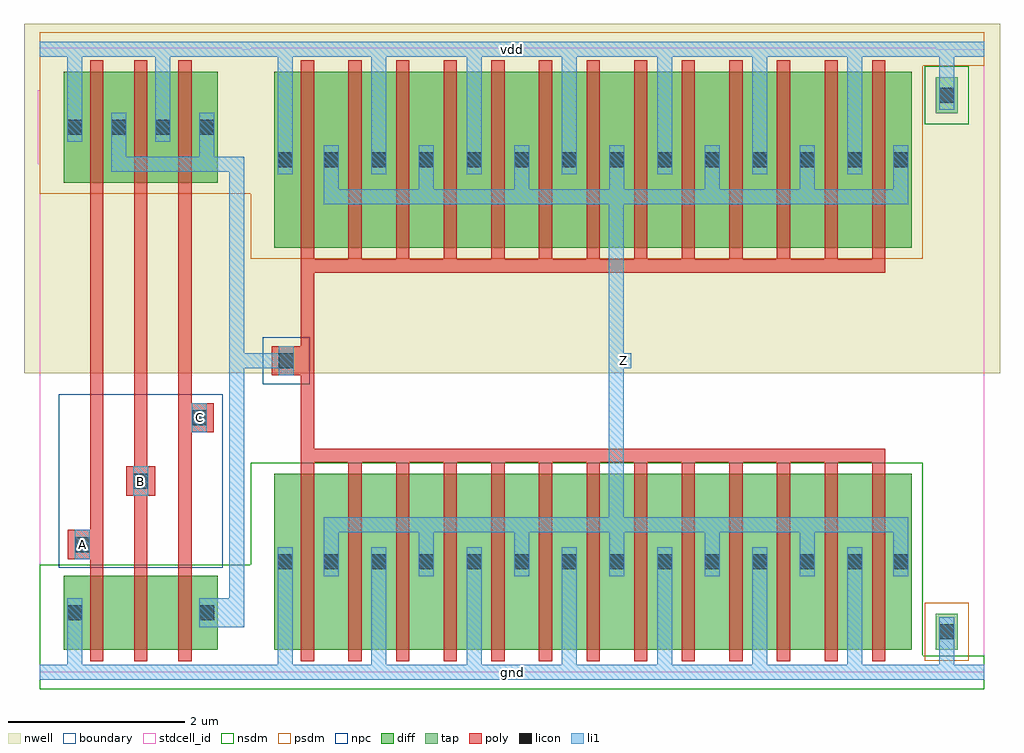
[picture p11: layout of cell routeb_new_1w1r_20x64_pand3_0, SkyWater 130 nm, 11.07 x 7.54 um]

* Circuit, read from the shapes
.subckt routeb_new_1w1r_20x64_pand3_0 A B C Z gnd vdd
XM1 routeb_new_1w1r_20x64_pnand3_0/routeb_new_1w1r_20x64_nmos_m1_w0_840_sli_dactive_3/D A gnd gnd sky130_fd_pr__nfet_01v8 w=0.84 l=0.15
XM2 routeb_new_1w1r_20x64_pnand3_0/routeb_new_1w1r_20x64_nmos_m1_w0_840_sactive_dactive_4/D B routeb_new_1w1r_20x64_pnand3_0/routeb_new_1w1r_20x64_nmos_m1_w0_840_sli_dactive_3/D gnd sky130_fd_pr__nfet_01v8 w=0.84 l=0.15
XM3 routeb_new_1w1r_20x64_pdriver_3_1/A C routeb_new_1w1r_20x64_pnand3_0/routeb_new_1w1r_20x64_nmos_m1_w0_840_sactive_dactive_4/D gnd sky130_fd_pr__nfet_01v8 w=0.84 l=0.15
XM4 Z routeb_new_1w1r_20x64_pdriver_3_1/A gnd gnd sky130_fd_pr__nfet_01v8 w=2 l=0.15 m=13
XM5 routeb_new_1w1r_20x64_pdriver_3_1/A A vdd vdd sky130_fd_pr__pfet_01v8 w=1.26 l=0.15
XM6 vdd B routeb_new_1w1r_20x64_pdriver_3_1/A vdd sky130_fd_pr__pfet_01v8 w=1.26 l=0.15
XM7 routeb_new_1w1r_20x64_pdriver_3_1/A C vdd vdd sky130_fd_pr__pfet_01v8 w=1.26 l=0.15
XM8 Z routeb_new_1w1r_20x64_pdriver_3_1/A vdd vdd sky130_fd_pr__pfet_01v8 w=2 l=0.15 m=13
.ends

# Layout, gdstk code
import gdstk
lib = gdstk.Library(unit=1e-6, precision=1e-09)
def R(c, l, rs):  # rectangles x0, y0, x1, y1
    for r in rs: c.add(gdstk.rectangle(r[:2], r[2:], *l))
def A(c, l, x, y, w, h, nx, ny, dx, dy):  # array of equal rectangles
    R(c, l, [(x+i*dx, y+j*dy, x+i*dx+w, y+j*dy+h) for i in range(nx) for j in range(ny)])
nwell = (64, 20)
diff = (65, 20)
tap = (65, 44)
poly = (66, 20)
licon = (66, 44)
li1 = (67, 20)
stdcell_id = (81, 4)
nsdm = (93, 44)
psdm = (94, 20)
npc = (95, 20)
boundary = (235, 4)

routeb_new_1w1r_20x64_co = lib.new_cell('routeb_new_1w1r_20x64_contact_11')
R(routeb_new_1w1r_20x64_co, nwell, [(-0.295,-0.255,0.545,0.585)])
R(routeb_new_1w1r_20x64_co, diff, [(0,0.02,0.25,0.31)])
R(routeb_new_1w1r_20x64_co, licon, [(0.04,0.08,0.21,0.25)])
R(routeb_new_1w1r_20x64_co, li1, [(0.04,0,0.21,0.33)])
R(routeb_new_1w1r_20x64_co, stdcell_id, [(-0.295,-0.255,0.545,0.585)])
R(routeb_new_1w1r_20x64_co, psdm, [(-0.125,-0.105,0.375,0.435)])
R(routeb_new_1w1r_20x64_co, boundary, [(-0.295,-0.255,0.545,0.585)])

routeb_new_1w1r_20x64_pm = lib.new_cell('routeb_new_1w1r_20x64_pmos_m1_w1_260_sli_dli')
R(routeb_new_1w1r_20x64_pm, nwell, [(-0.27,-0.27,1.02,1.53)])
R(routeb_new_1w1r_20x64_pm, diff, [(0,0,0.75,1.26)])
R(routeb_new_1w1r_20x64_pm, poly, [(0.3,-0.13,0.45,1.39), (0.3,-0.13,0.45,1.39)])
R(routeb_new_1w1r_20x64_pm, li1, [(0.04,0.465,0.21,0.795), (0.54,0.465,0.71,0.795)])
R(routeb_new_1w1r_20x64_pm, stdcell_id, [(-0.27,-0.27,1.02,1.53)])
R(routeb_new_1w1r_20x64_pm, psdm, [(-0.125,-0.125,0.875,1.385)])
R(routeb_new_1w1r_20x64_pm, boundary, [(-0.27,-0.27,1.02,1.53)])
routeb_new_1w1r_20x64_pm.add(gdstk.Reference(routeb_new_1w1r_20x64_co, (0,0.465)))
routeb_new_1w1r_20x64_pm.add(gdstk.Reference(routeb_new_1w1r_20x64_co, (0.5,0.465)))
routeb_new_1w1r_20x64_pm.add(gdstk.Label('G', (0.375,0.63), layer=66, texttype=5))
routeb_new_1w1r_20x64_pm.add(gdstk.Label('S', (0.125,0.63), layer=67, texttype=5))
routeb_new_1w1r_20x64_pm.add(gdstk.Label('D', (0.625,0.63), layer=67, texttype=5))

c_routeb_new_1w1r_20x64_co = lib.new_cell('routeb_new_1w1r_20x64_contact_10')
R(c_routeb_new_1w1r_20x64_co, diff, [(0,0.02,0.25,0.31)])
R(c_routeb_new_1w1r_20x64_co, licon, [(0.04,0.08,0.21,0.25)])
R(c_routeb_new_1w1r_20x64_co, li1, [(0.04,0,0.21,0.33)])
R(c_routeb_new_1w1r_20x64_co, stdcell_id, [(-0.125,-0.105,0.375,0.435)])
R(c_routeb_new_1w1r_20x64_co, nsdm, [(-0.125,-0.105,0.375,0.435)])
R(c_routeb_new_1w1r_20x64_co, boundary, [(-0.125,-0.105,0.375,0.435)])

routeb_new_1w1r_20x64_nm = lib.new_cell('routeb_new_1w1r_20x64_nmos_m1_w0_840_sli_dactive')
R(routeb_new_1w1r_20x64_nm, diff, [(0,0,0.75,0.84), (0.55,0.345,0.7,0.495)])
R(routeb_new_1w1r_20x64_nm, poly, [(0.3,-0.13,0.45,0.97), (0.3,-0.13,0.45,0.97)])
R(routeb_new_1w1r_20x64_nm, li1, [(0.04,0.255,0.21,0.585)])
R(routeb_new_1w1r_20x64_nm, stdcell_id, [(-0.125,-0.13,0.875,0.97)])
R(routeb_new_1w1r_20x64_nm, nsdm, [(-0.125,-0.125,0.875,0.965)])
R(routeb_new_1w1r_20x64_nm, boundary, [(-0.125,-0.13,0.875,0.97)])
routeb_new_1w1r_20x64_nm.add(gdstk.Reference(c_routeb_new_1w1r_20x64_co, (0,0.255)))
routeb_new_1w1r_20x64_nm.add(gdstk.Label('G', (0.375,0.42), layer=66, texttype=5))
routeb_new_1w1r_20x64_nm.add(gdstk.Label('S', (0.125,0.42), layer=67, texttype=5))
routeb_new_1w1r_20x64_nm.add(gdstk.Label('D', (0.625,0.42), layer=65, texttype=5))

c_routeb_new_1w1r_20x64_nm = lib.new_cell('routeb_new_1w1r_20x64_nmos_m1_w0_840_sactive_dactive')
R(c_routeb_new_1w1r_20x64_nm, diff, [(0,0,0.75,0.84), (0.05,0.345,0.2,0.495), (0.55,0.345,0.7,0.495)])
R(c_routeb_new_1w1r_20x64_nm, poly, [(0.3,-0.13,0.45,0.97), (0.3,-0.13,0.45,0.97)])
R(c_routeb_new_1w1r_20x64_nm, stdcell_id, [(-0.125,-0.13,0.875,0.97)])
R(c_routeb_new_1w1r_20x64_nm, nsdm, [(-0.125,-0.125,0.875,0.965)])
R(c_routeb_new_1w1r_20x64_nm, boundary, [(-0.125,-0.13,0.875,0.97)])
c_routeb_new_1w1r_20x64_nm.add(gdstk.Label('G', (0.375,0.42), layer=66, texttype=5))
c_routeb_new_1w1r_20x64_nm.add(gdstk.Label('S', (0.125,0.42), layer=65, texttype=5))
c_routeb_new_1w1r_20x64_nm.add(gdstk.Label('D', (0.625,0.42), layer=65, texttype=5))

c_routeb_new_1w1r_20x64_nm_ = lib.new_cell('routeb_new_1w1r_20x64_nmos_m1_w0_840_sactive_dli')
R(c_routeb_new_1w1r_20x64_nm_, diff, [(0,0,0.75,0.84), (0.05,0.345,0.2,0.495)])
R(c_routeb_new_1w1r_20x64_nm_, poly, [(0.3,-0.13,0.45,0.97), (0.3,-0.13,0.45,0.97)])
R(c_routeb_new_1w1r_20x64_nm_, li1, [(0.54,0.255,0.71,0.585)])
R(c_routeb_new_1w1r_20x64_nm_, stdcell_id, [(-0.125,-0.13,0.875,0.97)])
R(c_routeb_new_1w1r_20x64_nm_, nsdm, [(-0.125,-0.125,0.875,0.965)])
R(c_routeb_new_1w1r_20x64_nm_, boundary, [(-0.125,-0.13,0.875,0.97)])
c_routeb_new_1w1r_20x64_nm_.add(gdstk.Reference(c_routeb_new_1w1r_20x64_co, (0.5,0.255)))
c_routeb_new_1w1r_20x64_nm_.add(gdstk.Label('G', (0.375,0.42), layer=66, texttype=5))
c_routeb_new_1w1r_20x64_nm_.add(gdstk.Label('S', (0.125,0.42), layer=65, texttype=5))
c_routeb_new_1w1r_20x64_nm_.add(gdstk.Label('D', (0.625,0.42), layer=67, texttype=5))

c_routeb_new_1w1r_20x64_co_ = lib.new_cell('routeb_new_1w1r_20x64_contact_15')
R(c_routeb_new_1w1r_20x64_co_, poly, [(0,0,0.33,0.33)])
R(c_routeb_new_1w1r_20x64_co_, licon, [(0.08,0.08,0.25,0.25)])
R(c_routeb_new_1w1r_20x64_co_, li1, [(0.08,0,0.25,0.33)])
R(c_routeb_new_1w1r_20x64_co_, stdcell_id, [(-0.1,-0.1,0.43,0.43)])
R(c_routeb_new_1w1r_20x64_co_, npc, [(-0.1,-0.1,0.43,0.43)])
R(c_routeb_new_1w1r_20x64_co_, boundary, [(-0.1,-0.1,0.43,0.43)])

routeb_new_1w1r_20x64_pn = lib.new_cell('routeb_new_1w1r_20x64_pnand3')
R(routeb_new_1w1r_20x64_pn, nwell, [(-0.18,3.395,2.57,7.355)])
A(routeb_new_1w1r_20x64_pn, poly, 0.57, 1.225, 0.15, 4.2, 3, 1, 0.5, 0)
R(routeb_new_1w1r_20x64_pn, poly, [(0.48,1.285,0.57,1.615), (1.07,2.005,1.145,2.335), (1.57,2.725,1.81,3.055)])
R(routeb_new_1w1r_20x64_pn, li1, [(0,-0.085,2.39,0.085), (0.31,-0.085,0.48,0.51), (1.895,0.51,2.235,0.84), (2.15,0.51,2.32,5.765), (0.395,1.285,0.565,1.615), (1.06,2.005,1.23,2.335), (1.725,2.725,1.895,3.055), (0.81,5.68,0.98,5.85), (0.895,5.68,2.235,5.85), (1.81,5.68,1.98,5.85), (1.895,5.68,2.235,5.85), (2.15,5.68,2.32,5.85), (0.81,5.765,0.98,6.185), (1.81,5.765,1.98,6.185), (0.31,6.02,0.48,7.155), (1.31,6.02,1.48,7.155), (0,6.985,2.39,7.155)])
R(routeb_new_1w1r_20x64_pn, stdcell_id, [(0,0,2.39,7.07), (0,0,2.39,7.07)])
R(routeb_new_1w1r_20x64_pn, nsdm, [(0,-0.19,2.39,0.19), (0,0,2.39,1.22)])
R(routeb_new_1w1r_20x64_pn, psdm, [(0,5.43,2.39,7.07), (0,6.88,2.39,7.26)])
R(routeb_new_1w1r_20x64_pn, npc, [(0.215,1.185,2.075,3.155)])
R(routeb_new_1w1r_20x64_pn, boundary, [(0,0,2.39,7.07), (0,0,2.39,7.07)])
routeb_new_1w1r_20x64_pn.add(gdstk.Reference(routeb_new_1w1r_20x64_pm, (0.27,5.555)))
routeb_new_1w1r_20x64_pn.add(gdstk.Reference(routeb_new_1w1r_20x64_pm, (0.77,5.555)))
routeb_new_1w1r_20x64_pn.add(gdstk.Reference(routeb_new_1w1r_20x64_pm, (1.27,5.555)))
routeb_new_1w1r_20x64_pn.add(gdstk.Reference(routeb_new_1w1r_20x64_nm, (0.27,0.255)))
routeb_new_1w1r_20x64_pn.add(gdstk.Reference(c_routeb_new_1w1r_20x64_nm, (0.77,0.255)))
routeb_new_1w1r_20x64_pn.add(gdstk.Reference(c_routeb_new_1w1r_20x64_nm_, (1.27,0.255)))
routeb_new_1w1r_20x64_pn.add(gdstk.Reference(c_routeb_new_1w1r_20x64_co_, (0.315,1.285)))
routeb_new_1w1r_20x64_pn.add(gdstk.Reference(c_routeb_new_1w1r_20x64_co_, (0.98,2.005)))
routeb_new_1w1r_20x64_pn.add(gdstk.Reference(c_routeb_new_1w1r_20x64_co_, (1.645,2.725)))
routeb_new_1w1r_20x64_pn.add(gdstk.Label('A', (0.48,1.45), layer=67, texttype=5))
routeb_new_1w1r_20x64_pn.add(gdstk.Label('B', (1.145,2.17), layer=67, texttype=5))
routeb_new_1w1r_20x64_pn.add(gdstk.Label('C', (1.81,2.89), layer=67, texttype=5))
routeb_new_1w1r_20x64_pn.add(gdstk.Label('Z', (2.235,5.765), layer=67, texttype=5))
routeb_new_1w1r_20x64_pn.add(gdstk.Label('gnd', (1.195,0), layer=67, texttype=5))
routeb_new_1w1r_20x64_pn.add(gdstk.Label('vdd', (1.195,7.07), layer=67, texttype=5))

c_routeb_new_1w1r_20x64_pm = lib.new_cell('routeb_new_1w1r_20x64_pmos_m13_w2_000_sli_dli_da_p')
R(c_routeb_new_1w1r_20x64_pm, nwell, [(-0.27,-0.27,7.5,2.27)])
R(c_routeb_new_1w1r_20x64_pm, diff, [(0,0,7.23,2)])
A(c_routeb_new_1w1r_20x64_pm, poly, 0.3, -0.13, 0.15, 2.26, 13, 1, 0.54, 0)
R(c_routeb_new_1w1r_20x64_pm, poly, [(0.3,-0.28,6.93,-0.13)])
A(c_routeb_new_1w1r_20x64_pm, li1, 0.56, 0.58, 0.17, 0.42, 6, 1, 1.08, 0)
A(c_routeb_new_1w1r_20x64_pm, li1, 1.1, 0.835, 0.17, 0.33, 6, 1, 1.08, 0)
R(c_routeb_new_1w1r_20x64_pm, li1, [(0.56,0.495,7.19,0.665), (7.02,0.58,7.19,1), (0.04,0.835,0.21,1.165)])
R(c_routeb_new_1w1r_20x64_pm, stdcell_id, [(-0.27,-0.28,7.5,2.27)])
R(c_routeb_new_1w1r_20x64_pm, psdm, [(-0.125,-0.125,7.355,2.125)])
R(c_routeb_new_1w1r_20x64_pm, boundary, [(-0.27,-0.28,7.5,2.27)])
c_routeb_new_1w1r_20x64_pm.add(gdstk.Reference(routeb_new_1w1r_20x64_co, (0,0.835)))
c_routeb_new_1w1r_20x64_pm.add(gdstk.Reference(routeb_new_1w1r_20x64_co, (0.52,0.835)))
c_routeb_new_1w1r_20x64_pm.add(gdstk.Reference(routeb_new_1w1r_20x64_co, (1.06,0.835)))
c_routeb_new_1w1r_20x64_pm.add(gdstk.Reference(routeb_new_1w1r_20x64_co, (1.6,0.835)))
c_routeb_new_1w1r_20x64_pm.add(gdstk.Reference(routeb_new_1w1r_20x64_co, (2.14,0.835)))
c_routeb_new_1w1r_20x64_pm.add(gdstk.Reference(routeb_new_1w1r_20x64_co, (2.68,0.835)))
c_routeb_new_1w1r_20x64_pm.add(gdstk.Reference(routeb_new_1w1r_20x64_co, (3.22,0.835)))
c_routeb_new_1w1r_20x64_pm.add(gdstk.Reference(routeb_new_1w1r_20x64_co, (3.76,0.835)))
c_routeb_new_1w1r_20x64_pm.add(gdstk.Reference(routeb_new_1w1r_20x64_co, (4.3,0.835)))
c_routeb_new_1w1r_20x64_pm.add(gdstk.Reference(routeb_new_1w1r_20x64_co, (4.84,0.835)))
c_routeb_new_1w1r_20x64_pm.add(gdstk.Reference(routeb_new_1w1r_20x64_co, (5.38,0.835)))
c_routeb_new_1w1r_20x64_pm.add(gdstk.Reference(routeb_new_1w1r_20x64_co, (5.92,0.835)))
c_routeb_new_1w1r_20x64_pm.add(gdstk.Reference(routeb_new_1w1r_20x64_co, (6.46,0.835)))
c_routeb_new_1w1r_20x64_pm.add(gdstk.Reference(routeb_new_1w1r_20x64_co, (6.98,0.835)))
c_routeb_new_1w1r_20x64_pm.add(gdstk.Label('G', (3.615,-0.205), layer=66, texttype=5))
c_routeb_new_1w1r_20x64_pm.add(gdstk.Label('S', (6.585,1), layer=67, texttype=5))
c_routeb_new_1w1r_20x64_pm.add(gdstk.Label('S', (2.265,1), layer=67, texttype=5))
c_routeb_new_1w1r_20x64_pm.add(gdstk.Label('S', (3.345,1), layer=67, texttype=5))
c_routeb_new_1w1r_20x64_pm.add(gdstk.Label('S', (1.185,1), layer=67, texttype=5))
c_routeb_new_1w1r_20x64_pm.add(gdstk.Label('S', (0.125,1), layer=67, texttype=5))
c_routeb_new_1w1r_20x64_pm.add(gdstk.Label('S', (5.505,1), layer=67, texttype=5))
c_routeb_new_1w1r_20x64_pm.add(gdstk.Label('S', (4.425,1), layer=67, texttype=5))
c_routeb_new_1w1r_20x64_pm.add(gdstk.Label('D', (3.875,0.58), layer=67, texttype=5))

c_routeb_new_1w1r_20x64_nm__ = lib.new_cell('routeb_new_1w1r_20x64_nmos_m13_w2_000_sli_dli_da_p')
R(c_routeb_new_1w1r_20x64_nm__, diff, [(0,0,7.23,2)])
A(c_routeb_new_1w1r_20x64_nm__, poly, 0.3, -0.13, 0.15, 2.26, 13, 1, 0.54, 0)
R(c_routeb_new_1w1r_20x64_nm__, poly, [(0.3,2.13,6.93,2.28)])
A(c_routeb_new_1w1r_20x64_nm__, li1, 1.1, 0.835, 0.17, 0.33, 6, 1, 1.08, 0)
A(c_routeb_new_1w1r_20x64_nm__, li1, 0.56, 1, 0.17, 0.42, 6, 1, 1.08, 0)
R(c_routeb_new_1w1r_20x64_nm__, li1, [(0.04,0.835,0.21,1.165), (7.02,1,7.19,1.42), (0.56,1.335,7.19,1.505)])
R(c_routeb_new_1w1r_20x64_nm__, stdcell_id, [(-0.125,-0.13,7.355,2.28)])
R(c_routeb_new_1w1r_20x64_nm__, nsdm, [(-0.125,-0.125,7.355,2.125)])
R(c_routeb_new_1w1r_20x64_nm__, boundary, [(-0.125,-0.13,7.355,2.28)])
c_routeb_new_1w1r_20x64_nm__.add(gdstk.Reference(c_routeb_new_1w1r_20x64_co, (0,0.835)))
c_routeb_new_1w1r_20x64_nm__.add(gdstk.Reference(c_routeb_new_1w1r_20x64_co, (0.52,0.835)))
c_routeb_new_1w1r_20x64_nm__.add(gdstk.Reference(c_routeb_new_1w1r_20x64_co, (1.06,0.835)))
c_routeb_new_1w1r_20x64_nm__.add(gdstk.Reference(c_routeb_new_1w1r_20x64_co, (1.6,0.835)))
c_routeb_new_1w1r_20x64_nm__.add(gdstk.Reference(c_routeb_new_1w1r_20x64_co, (2.14,0.835)))
c_routeb_new_1w1r_20x64_nm__.add(gdstk.Reference(c_routeb_new_1w1r_20x64_co, (2.68,0.835)))
c_routeb_new_1w1r_20x64_nm__.add(gdstk.Reference(c_routeb_new_1w1r_20x64_co, (3.22,0.835)))
c_routeb_new_1w1r_20x64_nm__.add(gdstk.Reference(c_routeb_new_1w1r_20x64_co, (3.76,0.835)))
c_routeb_new_1w1r_20x64_nm__.add(gdstk.Reference(c_routeb_new_1w1r_20x64_co, (4.3,0.835)))
c_routeb_new_1w1r_20x64_nm__.add(gdstk.Reference(c_routeb_new_1w1r_20x64_co, (4.84,0.835)))
c_routeb_new_1w1r_20x64_nm__.add(gdstk.Reference(c_routeb_new_1w1r_20x64_co, (5.38,0.835)))
c_routeb_new_1w1r_20x64_nm__.add(gdstk.Reference(c_routeb_new_1w1r_20x64_co, (5.92,0.835)))
c_routeb_new_1w1r_20x64_nm__.add(gdstk.Reference(c_routeb_new_1w1r_20x64_co, (6.46,0.835)))
c_routeb_new_1w1r_20x64_nm__.add(gdstk.Reference(c_routeb_new_1w1r_20x64_co, (6.98,0.835)))
c_routeb_new_1w1r_20x64_nm__.add(gdstk.Label('G', (3.615,2.205), layer=66, texttype=5))
c_routeb_new_1w1r_20x64_nm__.add(gdstk.Label('S', (6.585,1), layer=67, texttype=5))
c_routeb_new_1w1r_20x64_nm__.add(gdstk.Label('S', (2.265,1), layer=67, texttype=5))
c_routeb_new_1w1r_20x64_nm__.add(gdstk.Label('S', (3.345,1), layer=67, texttype=5))
c_routeb_new_1w1r_20x64_nm__.add(gdstk.Label('S', (1.185,1), layer=67, texttype=5))
c_routeb_new_1w1r_20x64_nm__.add(gdstk.Label('S', (0.125,1), layer=67, texttype=5))
c_routeb_new_1w1r_20x64_nm__.add(gdstk.Label('S', (5.505,1), layer=67, texttype=5))
c_routeb_new_1w1r_20x64_nm__.add(gdstk.Label('S', (4.425,1), layer=67, texttype=5))
c_routeb_new_1w1r_20x64_nm__.add(gdstk.Label('D', (3.875,1.42), layer=67, texttype=5))

c_routeb_new_1w1r_20x64_co__ = lib.new_cell('routeb_new_1w1r_20x64_contact_24')
R(c_routeb_new_1w1r_20x64_co__, nwell, [(-0.295,-0.215,0.545,0.625)])
R(c_routeb_new_1w1r_20x64_co__, tap, [(0,0,0.25,0.41)])
R(c_routeb_new_1w1r_20x64_co__, licon, [(0.04,0.12,0.21,0.29)])
R(c_routeb_new_1w1r_20x64_co__, li1, [(0.04,0.04,0.21,0.37)])
R(c_routeb_new_1w1r_20x64_co__, stdcell_id, [(-0.295,-0.215,0.545,0.625)])
R(c_routeb_new_1w1r_20x64_co__, nsdm, [(-0.125,-0.125,0.375,0.535)])
R(c_routeb_new_1w1r_20x64_co__, boundary, [(-0.295,-0.215,0.545,0.625)])

c_routeb_new_1w1r_20x64_co___ = lib.new_cell('routeb_new_1w1r_20x64_contact_25')
R(c_routeb_new_1w1r_20x64_co___, tap, [(0,0,0.25,0.41)])
R(c_routeb_new_1w1r_20x64_co___, licon, [(0.04,0.12,0.21,0.29)])
R(c_routeb_new_1w1r_20x64_co___, li1, [(0.04,0.04,0.21,0.37)])
R(c_routeb_new_1w1r_20x64_co___, stdcell_id, [(-0.125,-0.125,0.375,0.535)])
R(c_routeb_new_1w1r_20x64_co___, psdm, [(-0.125,-0.125,0.375,0.535)])
R(c_routeb_new_1w1r_20x64_co___, boundary, [(-0.125,-0.125,0.375,0.535)])

routeb_new_1w1r_20x64_pi = lib.new_cell('routeb_new_1w1r_20x64_pinv_12')
R(routeb_new_1w1r_20x64_pi, nwell, [(-0.18,3.395,8.5,7.355)])
R(routeb_new_1w1r_20x64_pi, poly, [(0.57,2.535,0.72,4.535), (0.405,3.37,0.57,3.7)])
A(routeb_new_1w1r_20x64_pi, li1, 1.37, -0.085, 0.17, 1.175, 6, 1, 1.08, 0)
A(routeb_new_1w1r_20x64_pi, li1, 1.37, 5.65, 0.17, 1.505, 6, 1, 1.08, 0)
R(routeb_new_1w1r_20x64_pi, li1, [(0,-0.085,8.32,0.085), (0.31,-0.085,0.48,1.09), (7.81,0,7.98,0.46), (4.06,1.59,4.23,5.48), (0.32,3.37,0.49,3.7), (4.145,3.45,4.315,3.62), (0.31,5.65,0.48,7.155), (7.81,6.545,7.98,7.07), (0,6.985,8.32,7.155)])
R(routeb_new_1w1r_20x64_pi, stdcell_id, [(0,0,8.32,7.07), (0,0,8.32,7.07)])
R(routeb_new_1w1r_20x64_pi, nsdm, [(0,-0.19,8.32,0.19), (0,0,7.625,2.38)])
R(routeb_new_1w1r_20x64_pi, psdm, [(0,4.69,7.625,7.07), (0,6.88,8.32,7.26)])
R(routeb_new_1w1r_20x64_pi, boundary, [(0,0,8.32,7.07), (0,0,8.32,7.07)])
routeb_new_1w1r_20x64_pi.add(gdstk.Reference(c_routeb_new_1w1r_20x64_pm, (0.27,4.815)))
routeb_new_1w1r_20x64_pi.add(gdstk.Reference(c_routeb_new_1w1r_20x64_nm__, (0.27,0.255)))
routeb_new_1w1r_20x64_pi.add(gdstk.Reference(c_routeb_new_1w1r_20x64_co__, (7.77,6.34)))
routeb_new_1w1r_20x64_pi.add(gdstk.Reference(c_routeb_new_1w1r_20x64_co___, (7.77,0.255)))
routeb_new_1w1r_20x64_pi.add(gdstk.Reference(c_routeb_new_1w1r_20x64_co_, (0.24,3.37)))
routeb_new_1w1r_20x64_pi.add(gdstk.Label('A', (0.405,3.535), layer=67, texttype=5))
routeb_new_1w1r_20x64_pi.add(gdstk.Label('Z', (4.23,3.535), layer=67, texttype=5))
routeb_new_1w1r_20x64_pi.add(gdstk.Label('gnd', (4.16,0), layer=67, texttype=5))
routeb_new_1w1r_20x64_pi.add(gdstk.Label('vdd', (4.16,7.07), layer=67, texttype=5))

routeb_new_1w1r_20x64_pd = lib.new_cell('routeb_new_1w1r_20x64_pdriver_3')
R(routeb_new_1w1r_20x64_pd, nwell, [(-0.18,3.395,8.5,7.355)])
R(routeb_new_1w1r_20x64_pd, li1, [(0,-0.085,8.32,0.085), (0.32,3.37,0.49,3.7), (4.145,3.45,4.315,3.62), (0,6.985,8.32,7.155)])
R(routeb_new_1w1r_20x64_pd, stdcell_id, [(0,0,8.32,7.07), (0,0,8.32,7.07)])
R(routeb_new_1w1r_20x64_pd, nsdm, [(0,-0.19,8.32,0.19)])
R(routeb_new_1w1r_20x64_pd, psdm, [(0,6.88,8.32,7.26)])
R(routeb_new_1w1r_20x64_pd, boundary, [(0,0,8.32,7.07), (0,0,8.32,7.07)])
routeb_new_1w1r_20x64_pd.add(gdstk.Reference(routeb_new_1w1r_20x64_pi, (0,0)))
routeb_new_1w1r_20x64_pd.add(gdstk.Label('Z', (4.23,3.535), layer=67, texttype=5))
routeb_new_1w1r_20x64_pd.add(gdstk.Label('A', (0.405,3.535), layer=67, texttype=5))
routeb_new_1w1r_20x64_pd.add(gdstk.Label('gnd', (4.16,0), layer=67, texttype=5))
routeb_new_1w1r_20x64_pd.add(gdstk.Label('vdd', (4.16,7.07), layer=67, texttype=5))

routeb_new_1w1r_20x64_pa = lib.new_cell('routeb_new_1w1r_20x64_pand3_0')
R(routeb_new_1w1r_20x64_pa, li1, [(0,-0.085,10.71,0.085), (0.395,1.285,0.565,1.615), (1.06,2.005,1.23,2.335), (1.725,2.725,1.895,3.055), (2.15,3.45,2.32,3.62), (2.235,3.45,2.795,3.62), (6.535,3.45,6.705,3.62), (2.15,3.535,2.32,5.765), (0,6.985,10.71,7.155)])
R(routeb_new_1w1r_20x64_pa, stdcell_id, [(0,0,10.71,7.07), (0,0,10.71,7.07)])
R(routeb_new_1w1r_20x64_pa, boundary, [(0,0,10.71,7.07), (0,0,10.71,7.07)])
routeb_new_1w1r_20x64_pa.add(gdstk.Reference(routeb_new_1w1r_20x64_pn, (0,0)))
routeb_new_1w1r_20x64_pa.add(gdstk.Reference(routeb_new_1w1r_20x64_pd, (2.39,0)))
routeb_new_1w1r_20x64_pa.add(gdstk.Label('Z', (6.62,3.535), layer=67, texttype=5))
routeb_new_1w1r_20x64_pa.add(gdstk.Label('A', (0.48,1.45), layer=67, texttype=5))
routeb_new_1w1r_20x64_pa.add(gdstk.Label('B', (1.145,2.17), layer=67, texttype=5))
routeb_new_1w1r_20x64_pa.add(gdstk.Label('C', (1.81,2.89), layer=67, texttype=5))
routeb_new_1w1r_20x64_pa.add(gdstk.Label('gnd', (5.355,0), layer=67, texttype=5))
routeb_new_1w1r_20x64_pa.add(gdstk.Label('vdd', (5.355,7.07), layer=67, texttype=5))

lib.write_gds('routeb_new_1w1r_20x64_pand3_0.gds')
